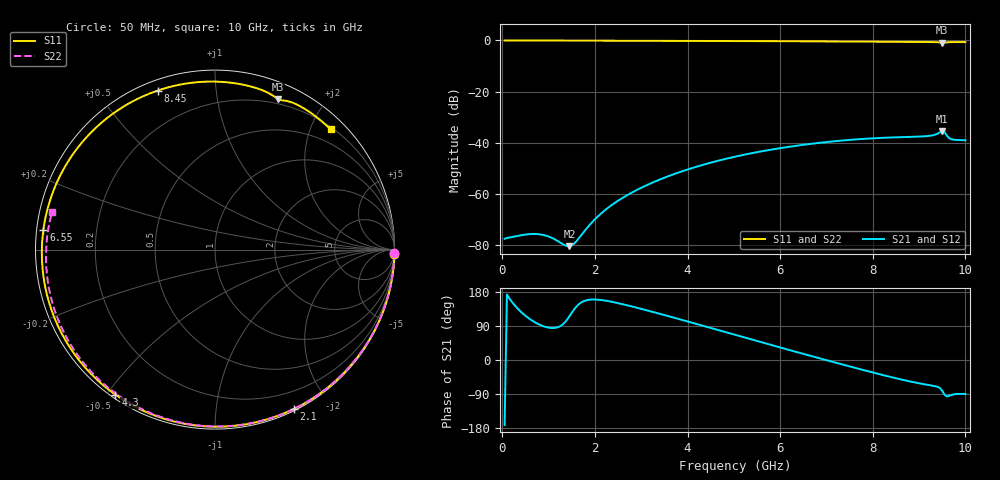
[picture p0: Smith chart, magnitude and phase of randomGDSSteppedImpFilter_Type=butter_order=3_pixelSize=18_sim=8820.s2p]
! freq	dB(S11)	phase(S11)	dB(S12)	phase(S12)
!  dB(S21)	phase(S21)	dB(S22)	phase(S22)
!S-par simulation data
#  GHz  S  DB  R 50
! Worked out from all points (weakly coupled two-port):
!   200 points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, 50 MHz to 10 GHz, reference 50 ohm
!   highest |S21| = -35.42 dB at 9.5 GHz (marker M1); lowest = -80.5 dB at 1.45 GHz (marker M2)
!   lowest |S11| = -0.8 dB at 9.5 GHz (marker M3), VSWR 20.92, Z = 7.72 + j74.4 ohm
!   |S11| at or under -10 dB: nowhere
!   |S22| runs from -0.6 to 0.0 dB; largest |S21 - S12| = 0
!   S11 on the Smith chart (normalised r, x): 50 MHz: 0, -73; 2.1 GHz: 0.02, -1.61; 4.3 GHz: 0.01, -0.53; 6.55 GHz: 0.02, +0.06; 8.45 GHz: 0.04, +0.70; 10 GHz: 0.24, +2.33
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0.05  -0.00 -1.6  -77.58 -171.7  -77.58 -171.7  -0.00 -1.1
0.75  -0.02 -23.3  -75.73 96.5  -75.73 96.5  -0.02 -16.2
1.35  -0.05 -41.5  -80.12 99.2  -80.12 99.2  -0.04 -29.0
1.45  -0.06 -44.5  -80.47 115.4  -80.47 115.4  -0.04 -31.1
1.55  -0.06 -47.5  -79.48 133.4  -79.48 133.4  -0.04 -33.2
1.75  -0.07 -53.4  -75.13 154.8  -75.13 154.8  -0.05 -37.4
2.1  -0.08 -63.6  -68.23 158.8  -68.23 158.8  -0.06 -44.6
2.65  -0.10 -79.3  -61.01 145.7  -61.01 145.7  -0.07 -55.8
3.4  -0.13 -100.1  -54.41 121.9  -54.41 121.9  -0.09 -70.6
4.3  -0.17 -124.4  -48.82 91.5  -48.82 91.5  -0.12 -87.8
5.05  -0.22 -144.5  -45.37 65.6  -45.37 65.6  -0.16 -101.6
5.85  -0.27 -166.5  -42.57 38.1  -42.57 38.1  -0.20 -116.0
6.55  -0.33 173.4  -40.70 14.5  -40.70 14.5  -0.24 -128.4
6.7  -0.35 168.9  -40.36 9.5  -40.36 9.5  -0.26 -131.1
7.5  -0.42 143.6  -38.89 -17.0  -38.89 -17.0  -0.32 -145.3
8.35  -0.51 113.6  -37.99 -43.8  -37.99 -43.8  -0.41 -160.7
8.45  -0.52 109.8  -37.92 -46.7  -37.92 -46.7  -0.42 -162.5
9  -0.58 88.1  -37.61 -61.5  -37.61 -61.5  -0.49 -172.9
9.3  -0.64 75.5  -37.08 -68.0  -37.08 -68.0  -0.53 -178.7
9.5  -0.83 67.4  -35.42 -81.2  -35.42 -81.2  -0.55 177.3
9.7  -0.64 59.6  -38.64 -92.3  -38.64 -92.3  -0.57 173.3
10  -0.64 46.1  -39.05 -89.7  -39.05 -89.7  -0.62 167.0
